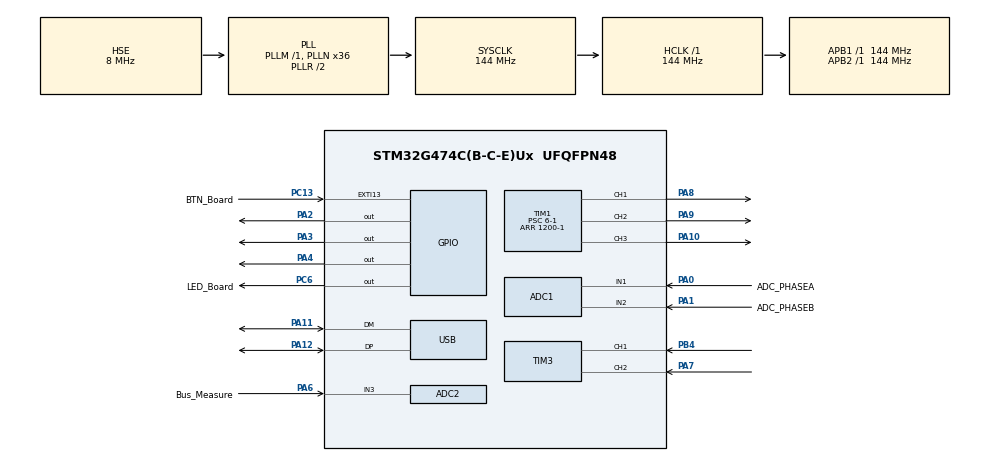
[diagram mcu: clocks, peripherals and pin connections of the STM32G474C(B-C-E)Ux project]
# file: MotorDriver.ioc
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ADC1.Channel-0\#ChannelRegularConversion=ADC_CHANNEL_1
ADC1.NbrOfConversionFlag=1
ADC1.OffsetNumber-0\#ChannelRegularConversion=ADC_OFFSET_NONE
ADC1.Rank-0\#ChannelRegularConversion=1
ADC1.SamplingTime-0\#ChannelRegularConversion=ADC_SAMPLETIME_2CYCLES_5
ADC1.master=1
ADC2.Channel-0\#ChannelRegularConversion=ADC_CHANNEL_3
ADC2.NbrOfConversionFlag=1
ADC2.OffsetNumber-0\#ChannelRegularConversion=ADC_OFFSET_NONE
ADC2.Rank-0\#ChannelRegularConversion=1
ADC2.SamplingTime-0\#ChannelRegularConversion=ADC_SAMPLETIME_2CYCLES_5
Mcu.Family=STM32G4
Mcu.Name=STM32G474C(B-C-E)Ux
Mcu.Package=UFQFPN48
NVIC.EXTI15_10_IRQn=true\:0\:0\:false\:false\:true\:true\:true\:true
NVIC.PriorityGroup=NVIC_PRIORITYGROUP_4
NVIC.USB_LP_IRQn=true\:0\:0\:false\:false\:true\:false\:true\:true
PA0.GPIO_Label=ADC_PHASEA
PA0.Mode=IN1-Single-Ended
PA0.Signal=ADC1_IN1
PA1.GPIO_Label=ADC_PHASEB
PA1.Mode=IN2-Single-Ended
PA1.Signal=ADC1_IN2
PA10.Signal=S_TIM1_CH3
PA11.Mode=Device
PA11.Signal=USB_DM
PA12.Mode=Device
PA12.Signal=USB_DP
PA13.Mode=Serial_Wire
PA13.Signal=SYS_JTMS-SWDIO
PA14.Mode=Serial_Wire
PA14.Signal=SYS_JTCK-SWCLK
PA2.Signal=GPIO_Output
PA3.Signal=GPIO_Output
PA4.Signal=GPIO_Output
PA6.GPIO_Label=Bus_Measure
PA6.Mode=IN3-Single-Ended
PA6.Signal=ADC2_IN3
PA7.GPIO_PuPd=GPIO_PULLUP
PA7.Signal=S_TIM3_CH2
PA8.Signal=S_TIM1_CH1
PA9.Signal=S_TIM1_CH2
PB4.GPIO_PuPd=GPIO_PULLUP
PB4.Signal=S_TIM3_CH1
PC13.GPIO_Label=BTN_Board
PC13.GPIO_ModeDefaultEXTI=GPIO_MODE_IT_RISING_FALLING
PC13.GPIO_PuPd=GPIO_PULLDOWN
PC13.Signal=GPXTI13
PC6.GPIO_Label=LED_Board
PC6.Signal=GPIO_Output
PF0-OSC_IN.Mode=HSE-External-Oscillator
PF0-OSC_IN.Signal=RCC_OSC_IN
PF1-OSC_OUT.Mode=HSE-External-Oscillator
PF1-OSC_OUT.Signal=RCC_OSC_OUT
ProjectManager.HeapSize=0x200
ProjectManager.StackSize=0x400
ProjectManager.TargetToolchain=STM32CubeIDE
RCC.ADC12Freq_Value=144000000
RCC.ADC345Freq_Value=144000000
RCC.AHBFreq_Value=144000000
RCC.APB1Freq_Value=144000000
RCC.APB1TimFreq_Value=144000000
RCC.APB2Freq_Value=144000000
RCC.APB2TimFreq_Value=144000000
RCC.CortexFreq_Value=144000000
RCC.EXTERNAL_CLOCK_VALUE=12288000
RCC.HCLKFreq_Value=144000000
RCC.HSE_VALUE=8000000
RCC.HSI48_VALUE=48000000
RCC.HSI_VALUE=16000000
RCC.LSE_VALUE=32768
RCC.PLLN=36
RCC.PLLQ=RCC_PLLQ_DIV6
RCC.PLLSourceVirtual=RCC_PLLSOURCE_HSE
RCC.SYSCLKFreq_VALUE=144000000
RCC.SYSCLKSource=RCC_SYSCLKSOURCE_PLLCLK
RCC.USBFreq_Value=48000000
RCC.VCOOutputFreq_Value=288000000
SH.S_TIM1_CH1.0=TIM1_CH1,PWM Generation1 CH1
SH.S_TIM1_CH2.0=TIM1_CH2,PWM Generation2 CH2
SH.S_TIM1_CH3.0=TIM1_CH3,PWM Generation3 CH3
SH.S_TIM3_CH1.0=TIM3_CH1,Encoder_Interface
SH.S_TIM3_CH2.0=TIM3_CH2,Encoder_Interface
TIM1.Channel-PWM\ Generation1\ CH1=TIM_CHANNEL_1
TIM1.Channel-PWM\ Generation2\ CH2=TIM_CHANNEL_2
TIM1.Channel-PWM\ Generation3\ CH3=TIM_CHANNEL_3
TIM1.CounterMode=TIM_COUNTERMODE_CENTERALIGNED3
TIM1.PeriodNoDither=1200-1
TIM1.Prescaler=6-1
TIM3.EncoderMode=TIM_ENCODERMODE_TI12
USB_DEVICE.APP_RX_DATA_SIZE=512
USB_DEVICE.APP_TX_DATA_SIZE=512
USB_DEVICE.CLASS_NAME_FS=CDC
USB_DEVICE.VirtualMode=Cdc
USB_DEVICE.VirtualModeFS=Cdc_FS
VP_SYS_VS_DBSignals.Mode=DisableDeadBatterySignals
VP_TIM1_VS_ClockSourceINT.Mode=Internal
VP_USB_DEVICE_VS_USB_DEVICE_CDC_FS.Mode=CDC_FS
board=custom

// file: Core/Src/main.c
/* USER CODE BEGIN Header */
/**
  ******************************************************************************
  * @file           : main.c
  * @brief          : Main program body
  ******************************************************************************
  * @attention
  *
  * Copyright (c) 2026 STMicroelectronics.
  * All rights reserved.
  *
  * This software is licensed under terms that can be found in the LICENSE file
  * in the root directory of this software component.
  * If no LICENSE file comes with this software, it is provided AS-IS.
  *
  ******************************************************************************
  */
/* USER CODE END Header */
#include "main.h"
#include "adc.h"
#include "tim.h"
#include "usb_device.h"
#include "gpio.h"

/* USER CODE BEGIN Includes */
#include "arm_math.h"
#include "MotorDriver.h"
#include "usbd_cdc_if.h"
/* USER CODE END Includes */

/* USER CODE BEGIN PD */
#define DFU_BOOT_FLAG 0xDEADBEEF
/* USER CODE END PD */

/* USER CODE BEGIN PV */
extern int _bflag;
uint32_t *dfu_boot_flag;
uint32_t push_count = 0;

Encoder encM1;
ThreePhaseInverter inversor;
Current_sensor PhaseA;
Current_sensor PhaseB;
Motor MotorRed1;
/* USER CODE END PV */

void SystemClock_Config(void);

/* USER CODE BEGIN 0 */
void HAL_GPIO_EXTI_Callback (uint16_t GPIO_Pin){
	if(GPIO_Pin == BTN_Board_Pin){

		GPIO_PinState pinState = HAL_GPIO_ReadPin(BTN_Board_GPIO_Port, BTN_Board_Pin);
		if(pinState == GPIO_PIN_SET){
			push_count = HAL_GetTick();
		} else {
			if(HAL_GetTick() - push_count > 1000){
				*dfu_boot_flag = DFU_BOOT_FLAG;
				HAL_NVIC_SystemReset();
			}
			push_count = 0 ;
		}
	}
}
/* USER CODE END 0 */

int main(void)
{

  /* USER CODE BEGIN 1 */
	dfu_boot_flag = (uint32_t *) (&_bflag);
  /* USER CODE END 1 */

  /* MCU Configuration--------------------------------------------------------*/

  /* Reset of all peripherals, Initializes the Flash interface and the Systick. */
  HAL_Init();

  /* Configure the system clock */
  SystemClock_Config();

  /* Initialize all configured peripherals */
  MX_GPIO_Init();
  MX_USB_Device_Init();
  MX_ADC1_Init();
  MX_TIM1_Init();
  MX_ADC2_Init();
  MX_TIM3_Init();
  /* USER CODE BEGIN 2 */
  float Vbus = 18;
  SetInverter(&inversor, (TIM_HandleTypeDef*[]){&htim1,&htim1,&htim1} , (uint32_t[]){TIM_CHANNEL_1,TIM_CHANNEL_2,TIM_CHANNEL_3} , (GPIO_TypeDef*[]){GPIOA,GPIOA,GPIOA}, (uint16_t[]){GPIO_PIN_2,GPIO_PIN_3,GPIO_PIN_4}, 1);
  HAL_TIM_PWM_Init(&htim1);
  setEncoder(&encM1, &htim3, 4096);
 //HAL_TIM_Encoder_Start(&htim2, TIM_CHANNEL_ALL);
  SetCurrentSensor(&PhaseA, &hadc1, ADC_CHANNEL_1, 0.2);
  SetCurrentSensor(&PhaseB, &hadc1, ADC_CHANNEL_2, 0.2);
  SetMotorParameters(&MotorRed1, 0.000787, 0.012, 0.127, 0.1, 0.85, Vbus/SQRT3, 11, &encM1);
  SetMotorFOC(&MotorRed1,&inversor, (float[]){0.01, 0.01},(float[]){0.01, 0.01}, &PhaseA, &PhaseB, 100, 100000);
  CalibrateCurrentOffset(&MotorRed1);
  /* USER CODE END 2 */

  /* Infinite loop */
  /* USER CODE BEGIN WHILE */

  uint32_t now = 0, next_blink = 250;
  while (1)
  {
	  now = uwTick;
	  if  (now >= next_blink){
		 HAL_GPIO_TogglePin(LED_Board_GPIO_Port,LED_Board_Pin);
		 updateEncoder(&MotorRed1);
		 printf("position %f\r\n",MotorRed1.encoder->MechanicalAngle);
		 next_blink = now+50;
	  }
    /* USER CODE END WHILE */

  }
}

void SystemClock_Config(void)
{
  RCC_OscInitTypeDef RCC_OscInitStruct = {0};
  RCC_ClkInitTypeDef RCC_ClkInitStruct = {0};

  /** Configure the main internal regulator output voltage
  */
  HAL_PWREx_ControlVoltageScaling(PWR_REGULATOR_VOLTAGE_SCALE1);

  /** Initializes the RCC Oscillators according to the specified parameters
  * in the RCC_OscInitTypeDef structure.
  */
  RCC_OscInitStruct.OscillatorType = RCC_OSCILLATORTYPE_HSE;
  RCC_OscInitStruct.HSEState = RCC_HSE_ON;
  RCC_OscInitStruct.PLL.PLLState = RCC_PLL_ON;
  RCC_OscInitStruct.PLL.PLLSource = RCC_PLLSOURCE_HSE;
  RCC_OscInitStruct.PLL.PLLM = RCC_PLLM_DIV1;
  RCC_OscInitStruct.PLL.PLLN = 36;
  RCC_OscInitStruct.PLL.PLLP = RCC_PLLP_DIV2;
  RCC_OscInitStruct.PLL.PLLQ = RCC_PLLQ_DIV6;
  RCC_OscInitStruct.PLL.PLLR = RCC_PLLR_DIV2;
  if (HAL_RCC_OscConfig(&RCC_OscInitStruct) != HAL_OK)
  {
    Error_Handler();
  }

  /** Initializes the CPU, AHB and APB buses clocks
  */
  RCC_ClkInitStruct.ClockType = RCC_CLOCKTYPE_HCLK|RCC_CLOCKTYPE_SYSCLK
                              |RCC_CLOCKTYPE_PCLK1|RCC_CLOCKTYPE_PCLK2;
  RCC_ClkInitStruct.SYSCLKSource = RCC_SYSCLKSOURCE_PLLCLK;
  RCC_ClkInitStruct.AHBCLKDivider = RCC_SYSCLK_DIV1;
  RCC_ClkInitStruct.APB1CLKDivider = RCC_HCLK_DIV1;
  RCC_ClkInitStruct.APB2CLKDivider = RCC_HCLK_DIV1;

  if (HAL_RCC_ClockConfig(&RCC_ClkInitStruct, FLASH_LATENCY_4) != HAL_OK)
  {
    Error_Handler();
  }
}

/* USER CODE BEGIN 4 */
int _write(int file, char *ptr, int len)
{
    while (CDC_Transmit_FS((uint8_t *)ptr, len) == USBD_BUSY)
    {
        HAL_Delay(1);
    }
    return len;
}
/* USER CODE END 4 */

void Error_Handler(void)
{
  __disable_irq();
  while (1)
  {
  }
}
